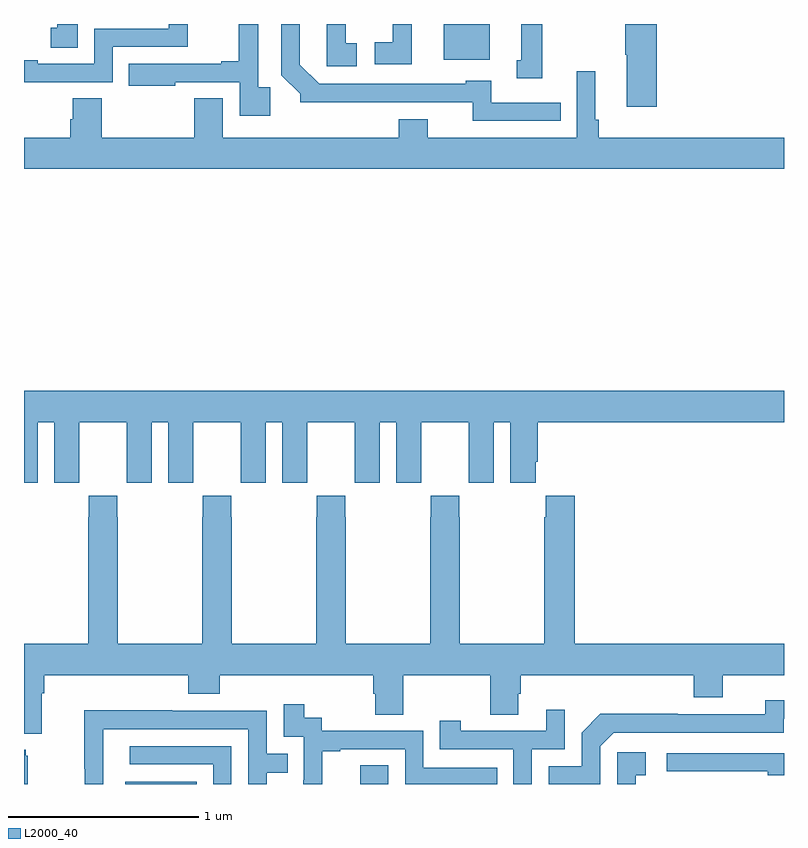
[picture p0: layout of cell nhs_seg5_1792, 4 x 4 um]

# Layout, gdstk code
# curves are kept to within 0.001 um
import gdstk
lib = gdstk.Library(unit=1e-6, precision=1e-09)
def R(c, l, rs):  # rectangles x0, y0, x1, y1
    for r in rs: c.add(gdstk.rectangle(r[:2], r[2:], *l))
def P(c, l, *ps):  # polygons
    for p in ps: c.add(gdstk.Polygon(p, *l))
L2000_40 = (2000, 40)

nhs_seg5_1792 = lib.new_cell('nhs_seg5_1792')
R(nhs_seg5_1792, L2000_40, [(217.532,910.799,217.91,910.81), (218.769,910.799,218.916,910.897), (219.209,914.612,219.451,914.799)])
P(nhs_seg5_1792, L2000_40, [(220.331,914.799),(220.165,914.799),(220.165,914.638),(220.172,914.638),(220.172,914.364),(220.331,914.364)],
  [(219.727,914.799),(219.617,914.799),(219.617,914.607),(219.593,914.607),(219.593,914.513),(219.727,914.513)],
  [(219.04,914.799),(218.941,914.799),(218.941,914.702),(218.847,914.702),(218.847,914.586),(219.04,914.586)],
  [(218.752,914.697),(218.694,914.697),(218.694,914.799),(218.594,914.799),(218.594,914.577),(218.752,914.577)],
  [(218.297,914.467),(218.232,914.467),(218.232,914.799),(218.131,914.799),(218.131,914.602),(218.039,914.602),(218.039,914.589),(217.552,914.589),(217.552,914.474),(217.795,914.474),(217.795,914.493),(218.136,914.493),(218.136,914.316),(218.297,914.316)],
  [(217.282,914.799),(217.175,914.799),(217.175,914.778),(217.142,914.778),(217.142,914.674),(217.282,914.674)],
  [(219.824,914.385),(219.46,914.385),(219.46,914.5),(219.324,914.5),(219.324,914.484),(218.553,914.484),(218.452,914.585),(218.452,914.799),(218.355,914.799),(218.355,914.53),(218.454,914.431),(218.454,914.387),(219.361,914.388),(219.361,914.289),(219.824,914.289)],
  [(217.467,914.679),(217.862,914.679),(217.862,914.799),(217.761,914.799),(217.761,914.775),(217.371,914.775),(217.371,914.589),(217.072,914.589),(217.072,914.609),(217,914.609),(217,914.493),(217.467,914.493)],
  [(221,914.2),(220.025,914.2),(220.025,914.296),(220.006,914.296),(220.006,914.551),(219.909,914.551),(219.909,914.2),(219.124,914.2),(219.124,914.299),(218.972,914.299),(218.972,914.2),(218.047,914.2),(218.047,914.408),(217.895,914.408),(217.895,914.2),(217.409,914.2),(217.409,914.408),(217.256,914.408),(217.256,914.298),(217.244,914.298),(217.244,914.2),(217,914.2),(217,914.036),(221,914.036)],
  [(217.072,912.704),(217.16,912.704),(217.16,912.384),(217.29,912.384),(217.29,912.496),(217.291,912.496),(217.291,912.704),(217.541,912.704),(217.541,912.496),(217.542,912.496),(217.542,912.384),(217.672,912.384),(217.672,912.704),(217.76,912.704),(217.76,912.384),(217.89,912.384),(217.89,912.496),(217.891,912.496),(217.891,912.704),(218.141,912.704),(218.141,912.496),(218.142,912.496),(218.142,912.384),(218.272,912.384),(218.272,912.704),(218.36,912.704),(218.36,912.384),(218.49,912.384),(218.49,912.496),(218.491,912.496),(218.491,912.704),(218.741,912.704),(218.741,912.496),(218.742,912.496),(218.742,912.384),(218.872,912.384),(218.872,912.704),(218.96,912.704),(218.96,912.384),(219.09,912.384),(219.09,912.496),(219.091,912.496),(219.091,912.704),(219.341,912.704),(219.341,912.496),(219.342,912.496),(219.342,912.384),(219.472,912.384),(219.472,912.704),(219.56,912.704),(219.56,912.384),(219.694,912.384),(219.694,912.496),(219.704,912.496),(219.704,912.704),(221,912.704),(221,912.868),(217,912.868),(217,912.384),(217.072,912.384)],
  [(218.837,911.274),(218.849,911.274),(218.849,911.164),(218.997,911.164),(218.997,911.372),(219.454,911.372),(219.454,911.164),(219.601,911.164),(219.601,911.274),(219.614,911.274),(219.614,911.372),(220.526,911.372),(220.526,911.255),(220.678,911.255),(220.678,911.372),(221,911.372),(221,911.536),(219.899,911.536),(219.899,912.316),(219.745,912.316),(219.745,912.203),(219.739,912.203),(219.739,911.536),(219.294,911.536),(219.294,912.203),(219.291,912.203),(219.291,912.316),(219.141,912.316),(219.141,912.203),(219.139,912.203),(219.139,911.536),(218.694,911.536),(218.694,912.203),(218.691,912.203),(218.691,912.316),(218.541,912.316),(218.541,912.203),(218.539,912.203),(218.539,911.536),(218.094,911.536),(218.094,912.203),(218.091,912.203),(218.091,912.316),(217.941,912.316),(217.941,912.203),(217.939,912.203),(217.939,911.536),(217.494,911.536),(217.494,912.203),(217.491,912.203),(217.491,912.316),(217.341,912.316),(217.341,912.203),(217.339,912.203),(217.339,911.536),(217,911.536),(217,911.063),(217.093,911.063),(217.093,911.276),(217.106,911.276),(217.106,911.372),(217.865,911.372),(217.865,911.273),(218.03,911.273),(218.03,911.372),(218.837,911.372)],
  [(220.032,910.998),(220.104,911.07),(220.998,911.07),(220.998,911.142),(221,911.142),(221,911.239),(220.902,911.239),(220.902,911.166),(220.442,911.166),(220.442,911.168),(220.034,911.168),(219.936,911.07),(219.936,910.893),(219.762,910.893),(219.762,910.799),(220.032,910.799)],
  [(218.57,910.971),(218.665,910.971),(218.665,910.983),(219.006,910.983),(219.006,910.799),(219.491,910.799),(219.491,910.884),(219.102,910.884),(219.102,911.079),(218.568,911.079),(218.568,911.148),(218.476,911.148),(218.476,911.218),(218.367,911.218),(218.367,911.049),(218.472,911.049),(218.472,910.82),(218.471,910.82),(218.471,910.799),(218.57,910.799)],
  [(219.672,910.983),(219.846,910.983),(219.846,911.191),(219.749,911.191),(219.749,911.079),(219.298,911.079),(219.298,911.131),(219.187,911.131),(219.187,910.983),(219.576,910.983),(219.576,910.799),(219.672,910.799)],
  [(217.416,911.088),(218.181,911.088),(218.181,910.799),(218.277,910.799),(218.277,910.858),(218.387,910.858),(218.387,910.959),(218.277,910.959),(218.277,911.184),(217.781,911.184),(217.781,911.186),(217.318,911.186),(217.318,910.879),(217.32,910.879),(217.32,910.799),(217.416,910.799)],
  [(218.091,910.998),(217.557,910.998),(217.557,910.902),(217.995,910.902),(217.995,910.799),(218.091,910.799)],
  [(217.021,910.947),(217.01,910.947),(217.01,910.978),(217,910.978),(217,910.799),(217.021,910.799)],
  [(220.22,910.845),(220.273,910.845),(220.273,910.966),(220.122,910.966),(220.122,910.799),(220.22,910.799)],
  [(221,910.962),(220.383,910.962),(220.383,910.866),(220.915,910.866),(220.915,910.846),(221,910.846)])

lib.write_gds('nhs_seg5_1792.gds')
